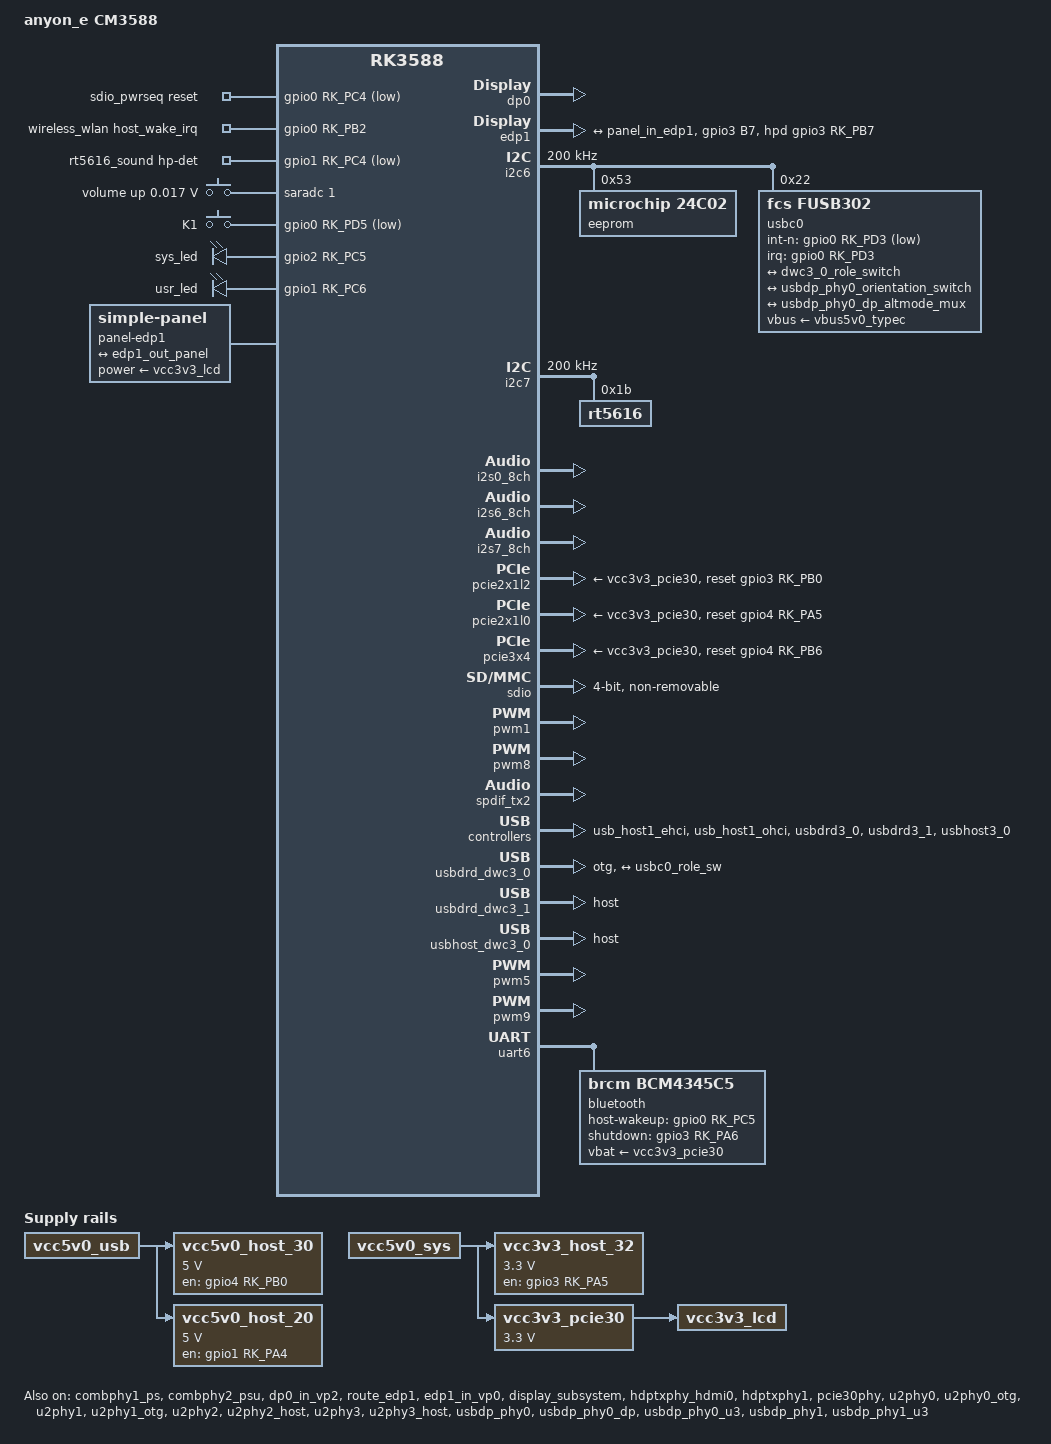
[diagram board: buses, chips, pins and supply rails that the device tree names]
// SPDX-License-Identifier: (GPL-2.0+ OR MIT)
/*
 * Copyright (c) 2024 Byran Huang, anyon_e Project.
 * (http://byran.ee)
 */

/*
 * changelog:
 * model from FriendlyElec CM3588 to anyon_e CM3588
 * added "byran, anyon_e" compatible label
 * remove HDMI RX
 * labeled some (confusing) nodes
*/

/dts-v1/;

#include "rk3588.dtsi"
#include "rk3588s-nanopi-r6-common.dtsi"

#include <dt-bindings/display/media-bus-format.h>
#include <dt-bindings/clock/rk3588-cru.h>
#include <dt-bindings/display/rockchip_vop.h>

/ {
	model = "anyon_e CM3588";
	compatible = "friendlyelec,cm3588", "byran,anyon_e", "rockchip,rk3588";

	aliases {
	};

	dp0_sound: dp0-sound {
		status = "okay";
		compatible = "rockchip,hdmi";
		rockchip,card-name= "rockchip,dp0";
		rockchip,mclk-fs = <512>;
		rockchip,cpu = <&spdif_tx2>;
		rockchip,codec = <&dp0 1>;
	};

	// bt_wake: bt-wake-gpio-regulator { // gpio not connected
	// 	compatible = "regulator-fixed";
	// 	regulator-name = "bt_wake";
	// 	enable-active-high;
	// 	gpio = <&gpio3 RK_PD5 GPIO_ACTIVE_HIGH>;
	// 	regulator-boot-on;
	// 	regulator-always-on;
	// };

	sdio_pwrseq: sdio-pwrseq {
		compatible = "mmc-pwrseq-simple";
		// clocks = <&hym8563>; // clock doesn't exist on anyon_e
		// clock-names = "ext_clock";
		pinctrl-names = "default";
		pinctrl-0 = <&wifi_enable_h>;
		reset-gpios = <&gpio0 RK_PC4 GPIO_ACTIVE_LOW>;
	};

	wireless_wlan: wireless-wlan {
		compatible = "wlan-platdata";
		wifi_chip_type = "ap6256";
		pinctrl-names = "default";
		pinctrl-0 = <&wifi_host_wake_irq>;
		WIFI,host_wake_irq = <&gpio0 RK_PB2 GPIO_ACTIVE_HIGH>;
		status = "okay";
	};

	rt5616_sound: rt5616-sound {
		status = "okay";
		compatible = "simple-audio-card";
		pinctrl-names = "default";
		pinctrl-0 = <&hp_det>;

		simple-audio-card,name = "realtek,rt5616-codec";
		simple-audio-card,format = "i2s";
		simple-audio-card,mclk-fs = <256>;

		simple-audio-card,hp-det-gpio = <&gpio1 RK_PC4 GPIO_ACTIVE_LOW>;
		simple-audio-card,hp-pin-name = "Headphone Jack";

		simple-audio-card,widgets =
			"Headphone", "Headphone Jack",
			"Microphone", "Microphone Jack";
		simple-audio-card,routing =
			"Headphone Jack", "HPOL",
			"Headphone Jack", "HPOR",
			"MIC1", "Microphone Jack",
			"Microphone Jack", "micbias1";

		simple-audio-card,cpu {
			sound-dai = <&i2s0_8ch>;
		};
		simple-audio-card,codec {
			sound-dai = <&rt5616>;
		};
	};

	fan: pwm-fan {
		status = "disabled";
		compatible = "pwm-fan";
		#cooling-cells = <2>;
		pwms = <&pwm1 0 50000 0>;
		cooling-levels = <0 50 100 150 200 255>;
		rockchip,temp-trips = <
			50000	1
			55000	2
			60000	3
			65000	4
			70000	5
		>;
	};

	adc_keys: adc-keys {
		compatible = "adc-keys";
		io-channels = <&saradc 1>;
		io-channel-names = "buttons";
		keyup-threshold-microvolt = <1800000>;
		poll-interval = <100>;

		vol-up-key {
			label = "volume up";
			linux,code = <KEY_VOLUMEUP>;
			press-threshold-microvolt = <17000>;
		};
	};

	gpio_keys: gpio-keys {
		compatible = "gpio-keys";
		pinctrl-names = "default";
		pinctrl-0 = <&key1_pin>;

		button@1 {
			debounce-interval = <50>;
			gpios = <&gpio0 RK_PD5 GPIO_ACTIVE_LOW>;
			label = "K1";
			linux,code = <BTN_1>;
			wakeup-source;
		};
	};

	gpio_leds: gpio-leds {
		compatible = "gpio-leds";

		sys_led: led-0 {
			gpios = <&gpio2 RK_PC5 GPIO_ACTIVE_HIGH>;
			label = "sys_led";
			linux,default-trigger = "heartbeat";
			pinctrl-names = "default";
			pinctrl-0 = <&sys_led_pin>;
		};

		usr_led: led-1 {
			gpios = <&gpio1 RK_PC6 GPIO_ACTIVE_HIGH>;
			label = "usr_led";
			pinctrl-names = "default";
			pinctrl-0 = <&usr_led_pin>;
		};
	};

	vcc5v0_host_30: vcc5v0-host-30 {
		compatible = "regulator-fixed";
		enable-active-high;
		gpio = <&gpio4 RK_PB0 GPIO_ACTIVE_HIGH>;
		pinctrl-names = "default";
		pinctrl-0 = <&vcc5v0_host30_en>;
		regulator-name = "vcc5v0_host_30";
		regulator-min-microvolt = <5000000>;
		regulator-max-microvolt = <5000000>;
		vin-supply = <&vcc5v0_usb>;
	};

	vcc3v3_host_32: vcc3v3-host-32 {
		compatible = "regulator-fixed";
		enable-active-high;
		gpio = <&gpio3 RK_PA5 GPIO_ACTIVE_HIGH>;
		pinctrl-names = "default";
		pinctrl-0 = <&vcc3v3_host32_en>;
		regulator-name = "vcc3v3_host_32";
		regulator-min-microvolt = <3300000>;
		regulator-max-microvolt = <3300000>;
		vin-supply = <&vcc5v0_sys>;
	};

	vcc5v0_host_20: vcc5v0-host-20 {
		compatible = "regulator-fixed";
		enable-active-high;
		gpio = <&gpio1 RK_PA4 GPIO_ACTIVE_HIGH>;
		pinctrl-names = "default";
		pinctrl-0 = <&vcc5v0_host20_en>;
		regulator-name = "vcc5v0_host_20";
		regulator-min-microvolt = <5000000>;
		regulator-max-microvolt = <5000000>;
		vin-supply = <&vcc5v0_usb>;
	};

	vcc3v3_pcie30: vcc3v3-pcie30 {
		compatible = "regulator-fixed";
		regulator-name = "vcc3v3_pcie30";
		regulator-always-on;
		regulator-boot-on;
		regulator-min-microvolt = <3300000>;
		regulator-max-microvolt = <3300000>;
		vin-supply = <&vcc5v0_sys>;
	};

	// ADD EDP PANEL

	panel-edp1 {
        compatible = "simple-panel";
        power-supply = <&vcc3v3_lcd>;
        status = "okay";
        // prepare-delay-ms = <20>;
        // enable-delay-ms = <20>;
        prepare-delay-ms = <120>; // t1 to t6
        enable-delay-ms = <50>; // valid video delay
        unprepare-delay-ms = <120>;
        disable-delay-ms = <120>;
        width-mm = <294>;
        height-mm = <165>;
        bus-format = <MEDIA_BUS_FMT_RGB888_1X24>;
        bpc = <8>;
        panel-timing {
            clock-frequency = <547130000>;
            hactive = <3840>;
            vactive = <2160>;
            hfront-porch = <48>;
            hsync-len = <32>;
            hback-porch = <240>;
            vfront-porch = <8>;
            vsync-len = <8>;
            vback-porch = <16>;
            hsync-active = <1>;
            vsync-active = <0>;
            de-active = <0>;
            pixelclk-active = <0>;
        };
        port {
            panel_in_edp1: endpoint {
                remote-endpoint = <&edp1_out_panel>;
            };
        };
    };

	vcc3v3_lcd: vcc3v3-lcd {
		compatible = "regulator-fixed";
		regulator-name = "vcc3v3_lcd";
		vin-supply = <&vcc3v3_pcie30>;
	};
};

// Combo PHY for PCIE, SATA, and USB3.0

&combphy1_ps { // PCIE and SATA
	status = "okay";
};

&combphy2_psu { // PCIE, SATA, and USB3.0
	status = "okay";
};

// END

// Type-C DP

&dp0 {
	status = "okay";
};

&dp0_in_vp0 {
	status = "disabled";
};

&dp0_in_vp1 {
	status = "disabled";
};

&dp0_in_vp2 {
	status = "okay";
};

&dp0_sound {
	status = "okay";
};

// END

// Disable secondary Gigabit Ethernet PHY

&gmac1 {
	status = "disabled";
};

// END

// HDMI/eDP TX Combo PHYs are based on a Samsung IP block
// HDMI/eDP0 PHY

&hdmi0 {
	enable-gpios = <&gpio4 RK_PB1 GPIO_ACTIVE_HIGH>;
	status = "disabled";
};

&hdmi0_in_vp0 {
	status = "disabled";
};

&hdmi0_in_vp1 {
	status = "disabled";
};

&hdmi0_in_vp2 {
	status = "disabled";
};

&hdmi0_sound {
	status = "disabled";
};

&route_hdmi0 {
	status = "disabled";
};

// END

// HDMI/eDP 1 PHY (disabled HDMI1)

// &hdmi1 {
// 	enable-gpios = <&gpio4 RK_PB2 GPIO_ACTIVE_HIGH>;
// 	status = "okay";
// };

// &hdmi1_in_vp0 {
// 	status = "disabled";
// };

// &hdmi1_in_vp1 {
// 	status = "okay";
// };

// &hdmi1_in_vp2 {
// 	status = "disabled";
// };

// &hdmi1_sound {
// 	status = "okay";
// };

// &hdmiin_sound {
// 	status = "okay";
// };

&edp1 {
    // analogix,video-bist-enable;
    // panel-self-test;
    pinctrl-names = "default";
    pinctrl-0 = <&edp1_hpd>;
    hpd-gpios = <&gpio3 RK_PB7 GPIO_ACTIVE_HIGH>;
    // force-hpd;
    status = "okay";

    ports {
    	port@1 {
          	reg = <1>;
            #address-cells = <1>;
            #size-cells = <0>;

            edp1_out_panel: endpoint@0 {
                reg = <0>;
              	remote-endpoint = <&panel_in_edp1>;
            };
        };
    };
};

&route_edp1 {
	status = "okay";
	connect = <&vp0_out_edp1>;
};

&edp1_in_vp0 {
	status = "okay";
};

&edp1_in_vp1 {
	status = "disabled";
};

&edp1_in_vp2 {
	status = "disabled";
};

&display_subsystem {
	status = "okay";
	/delete-property/ clocks;
	/delete-property/ clock-names;
};

&vp0 {
	assigned-clocks = <&cru DCLK_VOP0_SRC>;
	assigned-clock-parents = <&cru PLL_V0PLL>;
};

&vp2 {
	assigned-clocks = <&cru DCLK_VOP2_SRC>;
	assigned-clock-parents = <&cru PLL_GPLL>;
};

// END

// Enable the physical Samsung IP cores (hdptx)

&hdptxphy_hdmi0 {
	status = "okay";
};

// &hdptxphy_hdmi1 {
// 	status = "okay";
// };

&hdptxphy1 {
    status = "okay";
};

&hdptxphy_hdmi1 {
    status = "disabled";
};

// END

&i2c5 {
	pinctrl-0 = <&i2c5m0_xfer>;
	/* connected with MIPI-DSI0 */
};

// USBC0 FUSB I2C6

&i2c6 {
	clock-frequency = <200000>;
	status = "okay";

	// this EEPROM doesn't seem to exist...
	eeprom@53 {
		compatible = "microchip,24c02", "atmel,24c02";
		reg = <0x53>;
		#address-cells = <2>;
		#size-cells = <0>;
		pagesize = <16>;
		size = <256>;

		eui_48: eui-48@fa {
			reg = <0xfa 0x06>;
		};
	};

	usbc0: fusb302@22 {
		compatible = "fcs,fusb302";
		reg = <0x22>;
		interrupt-parent = <&gpio0>;
		interrupts = <RK_PD3 IRQ_TYPE_LEVEL_LOW>;
		int-n-gpios = <&gpio0 RK_PD3 GPIO_ACTIVE_LOW>;
		pinctrl-names = "default";
		pinctrl-0 = <&usbc0_int>;
		vbus-supply = <&vbus5v0_typec>;
		status = "okay";

		ports {
			#address-cells = <1>;
			#size-cells = <0>;

			port@0 {
				reg = <0>;
				usbc0_role_sw: endpoint@0 {
					remote-endpoint = <&dwc3_0_role_switch>;
				};
			};
		};

		usb_con: connector {
			compatible = "usb-c-connector";
			label = "USB-C";
			data-role = "dual";
			power-role = "dual";
			try-power-role = "sink";
			op-sink-microwatt = <1000000>;
			sink-pdos =
				<PDO_FIXED(5000, 3000, PDO_FIXED_USB_COMM)>;
			source-pdos =
				<PDO_FIXED(5000, 2000, PDO_FIXED_USB_COMM)>;

			altmodes {
				#address-cells = <1>;
				#size-cells = <0>;

				altmode@0 {
					reg = <0>;
					svid = <0xff01>;
					vdo = <0xffffffff>;
				};
			};

			ports {
				#address-cells = <1>;
				#size-cells = <0>;

				port@0 {
					reg = <0>;
					usbc0_orien_sw: endpoint {
						remote-endpoint = <&usbdp_phy0_orientation_switch>;
					};
				};

				port@1 {
					reg = <1>;
					dp_altmode_mux: endpoint {
						remote-endpoint = <&usbdp_phy0_dp_altmode_mux>;
					};
				};
			};
		};
	};
};

// END

// RT5616 Audio Codec IC I2C7, also to MIPI-CSI1

&i2c7 {
	clock-frequency = <200000>;
	status = "okay";

	rt5616: rt5616@1b {
		status = "okay";
		#sound-dai-cells = <0>;
		compatible = "rt5616";
		reg = <0x1b>;
		clocks = <&mclkout_i2s0>;
		clock-names = "mclk";
		assigned-clocks = <&mclkout_i2s0>;
		assigned-clock-rates = <12288000>;
		pinctrl-names = "default";
		pinctrl-0 = <&i2s0_mclk>;
	};

	/* connected with MIPI-CSI1 */
};

&i2c8 {
	pinctrl-0 = <&i2c8m2_xfer>;
	/* connected with Header_2.54MM */
};

&i2s0_8ch {
	status = "okay";
	pinctrl-0 = <&i2s0_lrck
		     &i2s0_sclk
		     &i2s0_sdi0
		     &i2s0_sdo0>;
};

&i2s6_8ch {
	status = "okay";
};

&i2s7_8ch {
	status = "okay";
};

&mdio1 {
	status = "disabled";
};

// 4x PCIE3.0x1

&pcie2x1l2 {
	reset-gpios = <&gpio3 RK_PB0 GPIO_ACTIVE_HIGH>;
	vpcie3v3-supply = <&vcc3v3_pcie30>;
	status = "okay";
};

&pcie2x1l0 {
	reset-gpios = <&gpio4 RK_PA5 GPIO_ACTIVE_HIGH>;
	vpcie3v3-supply = <&vcc3v3_pcie30>;
	status = "okay";
};

&pcie30phy {
	// rockchip,pcie30-phymode = <PHY_MODE_PCIE_NABIBI>;
	status = "okay";
};

&pcie3x4 {
	reset-gpios = <&gpio4 RK_PB6 GPIO_ACTIVE_HIGH>;
	vpcie3v3-supply = <&vcc3v3_pcie30>;
	status = "okay";
};

&sdio {
	max-frequency = <150000000>;
	supports-sdio;
	bus-width = <4>;
	disable-wp;
	cap-sd-highspeed;
	cap-sdio-irq;
	keep-power-in-suspend;
	mmc-pwrseq = <&sdio_pwrseq>;
	non-removable;
	num-slots = <1>;
	pinctrl-names = "default";
	pinctrl-0 = <&sdiom0_pins>;
	sd-uhs-sdr104;
	status = "okay";
};

&pinctrl {

    edp {
		edp1_hpd: edp1-hpd {
			rockchip,pins = <3 RK_PB7 RK_FUNC_GPIO &pcfg_pull_none>;
		};
	};

	gpio-key {
		key1_pin: key1-pin {
			rockchip,pins = <0 RK_PD5 RK_FUNC_GPIO &pcfg_pull_up>;
		};
	};

	gpio-leds {
		sys_led_pin: sys-led-pin {
			rockchip,pins = <2 RK_PC5 RK_FUNC_GPIO &pcfg_pull_none>;
		};

		usr_led_pin: usr-led-pin {
			rockchip,pins = <1 RK_PC6 RK_FUNC_GPIO &pcfg_pull_none>;
		};
	};

	headphone {
		hp_det: hp-det {
			rockchip,pins = <1 RK_PC4 RK_FUNC_GPIO &pcfg_pull_none>;
		};
	};

	hdmi {
	};

	sdmmc {
		sd_s0_pwr: sd-s0-pwr {
			rockchip,pins = <4 RK_PA5 RK_FUNC_GPIO &pcfg_pull_down>;
		};
	};

	usb {
		vcc5v0_host30_en: vcc5v0-host30-en {
			rockchip,pins = <4 RK_PB0 RK_FUNC_GPIO &pcfg_pull_none>;
		};
		vcc5v0_host20_en: vcc5v0-host20-en {
			rockchip,pins = <1 RK_PA4 RK_FUNC_GPIO &pcfg_pull_none>;
		};
		vcc3v3_host32_en: vcc3v3-host32-en {
			rockchip,pins = <3 RK_PA5 RK_FUNC_GPIO &pcfg_pull_none>;
		};
	};

	sdio-pwrseq {
		wifi_enable_h: wifi-enable-h {
			rockchip,pins = <0 RK_PC4 RK_FUNC_GPIO &pcfg_pull_none>;
		};
	};

	wireless-wlan {
		wifi_host_wake_irq: wifi-host-wake-irq {
			rockchip,pins = <0 RK_PB2 RK_FUNC_GPIO &pcfg_pull_down>;
		};
	};

	bt {
		bt_enable_h: bt-enable-h {
			rockchip,pins = <3 RK_PA6 RK_FUNC_GPIO &pcfg_pull_none>;
		};

		bt_host_wake_l: bt-host-wake-l {
			rockchip,pins = <0 RK_PC5 RK_FUNC_GPIO &pcfg_pull_none>;
		};

		bt_wake_l: bt-wake-l {
			rockchip,pins = <3 RK_PD5 RK_FUNC_GPIO &pcfg_pull_none>;
		};
	};
};

&pwm1 {
	pinctrl-0 = <&pwm1m1_pins>;
	status = "okay";
};

&pwm2 {
	pinctrl-0 = <&pwm2m1_pins>;
	/* connected with MIPI-DSI0 */
};

&pwm8 {
	pinctrl-0 = <&pwm8m0_pins>;
	status = "okay";
};

&spdif_tx2 {
	status = "okay";
};

&u2phy0 {
	status = "okay";
};

&u2phy0_otg {
	rockchip,typec-vbus-det;
	status = "okay";
};

&u2phy1 {
	status = "okay";
};

&u2phy1_otg {
	phy-supply = <&vcc5v0_host_30>;
	status = "okay";
};

&u2phy2 {
	status = "okay";
};

&u2phy2_host {
	phy-supply = <&vcc5v0_host_20>;
	status = "okay";
};

&u2phy3 {
	status = "okay";
};

&u2phy3_host {
	phy-supply = <&vcc3v3_host_32>;
	status = "okay";
};

&usb_host1_ehci {
	status = "okay";
};

&usb_host1_ohci {
	status = "okay";
};

&usbdp_phy0 {
	orientation-switch;
	rockchip,dp-lane-mux = <0 1 2 3 >;
	svid = <0xff01>;
	sbu1-dc-gpios = <&gpio4 RK_PA6 GPIO_ACTIVE_HIGH>;
	sbu2-dc-gpios = <&gpio4 RK_PA7 GPIO_ACTIVE_HIGH>;
	status = "okay";

	port {
		#address-cells = <1>;
		#size-cells = <0>;
		usbdp_phy0_orientation_switch: endpoint@0 {
			reg = <0>;
			remote-endpoint = <&usbc0_orien_sw>;
		};

		usbdp_phy0_dp_altmode_mux: endpoint@1 {
			reg = <1>;
			remote-endpoint = <&dp_altmode_mux>;
		};
	};
};

&usbdp_phy0_dp {
	status = "okay";
};

&usbdp_phy0_u3 {
	status = "okay";
};

&usbdrd3_0 {
	status = "okay";
};

&usbdrd_dwc3_0 {
	dr_mode = "otg";
	usb-role-switch;
	status = "okay";

	port {
		#address-cells = <1>;
		#size-cells = <0>;
		dwc3_0_role_switch: endpoint@0 {
			reg = <0>;
			remote-endpoint = <&usbc0_role_sw>;
		};
	};
};

&usbdp_phy1 {
	status = "okay";
};

&usbdp_phy1_u3 {
	status = "okay";
};

&usbdrd3_1 {
	status = "okay";
};

&usbdrd_dwc3_1 {
	dr_mode = "host";
	snps,xhci-trb-ent-quirk;
	status = "okay";
};

&usbhost3_0 {
	status = "okay";
};

&usbhost_dwc3_0 {
	dr_mode = "host";
	status = "okay";
};

&vcc_3v3_sd_s0 {
	/delete-property/ enable-active-high;
	gpio = <&gpio4 RK_PA5 GPIO_ACTIVE_LOW>;
};

// Forces separate video display controllers on each layer for display drivers

&vop {
	disable-win-move;
};

/* GPIO Connector */
&pwm5 {
	pinctrl-0 = <&pwm5m1_pins>;
	status = "okay";
};

&pwm9 {
	pinctrl-0 = <&pwm9m0_pins>;
	status = "okay";
};

&spi0 {
	num-cs = <1>;
	pinctrl-0 = <&spi0m2_cs0 &spi0m2_pins>;
	status = "disabled";

	spidev0: spidev@0 {
		compatible = "rockchip,spidev";
		reg = <0>;
		spi-max-frequency = <5000000>;
		status = "disabled";
	};
};

&spi4 {
	num-cs = <1>;
	pinctrl-0 = <&spi4m1_cs0 &spi4m1_pins>;
	status = "disabled";
};

&uart0 {
	pinctrl-0 = <&uart0m0_xfer>;
	status = "disabled";
};

&uart3 {
	pinctrl-0 = <&uart3m1_xfer>;
	status = "disabled";
};

&uart4 {
	pinctrl-0 = <&uart4m2_xfer>;
	status = "disabled";
};

&uart6 {
	pinctrl-names = "default";
	pinctrl-0 = <&uart6m1_xfer &uart6m1_ctsn &uart6m1_rtsn>;
	status = "okay";

	bluetooth {
		compatible = "brcm,bcm4345c5";
		// clocks = <&hym8563>;
		// clock-names = "ext_clock";
		host-wakeup-gpios = <&gpio0 RK_PC5 GPIO_ACTIVE_HIGH>;
		shutdown-gpios = <&gpio3 RK_PA6 GPIO_ACTIVE_HIGH>;
		max-speed = <1500000>;
		pinctrl-names = "default";
		pinctrl-0 = <&bt_host_wake_l &bt_wake_l &bt_enable_h>;
		vbat-supply = <&vcc3v3_pcie30>;
	};
};

&uart7 {
	pinctrl-0 = <&uart7m2_xfer>;
	status = "disabled";
};

&uart8 {
	pinctrl-0 = <&uart8m1_xfer>;
	status = "disabled";
};
